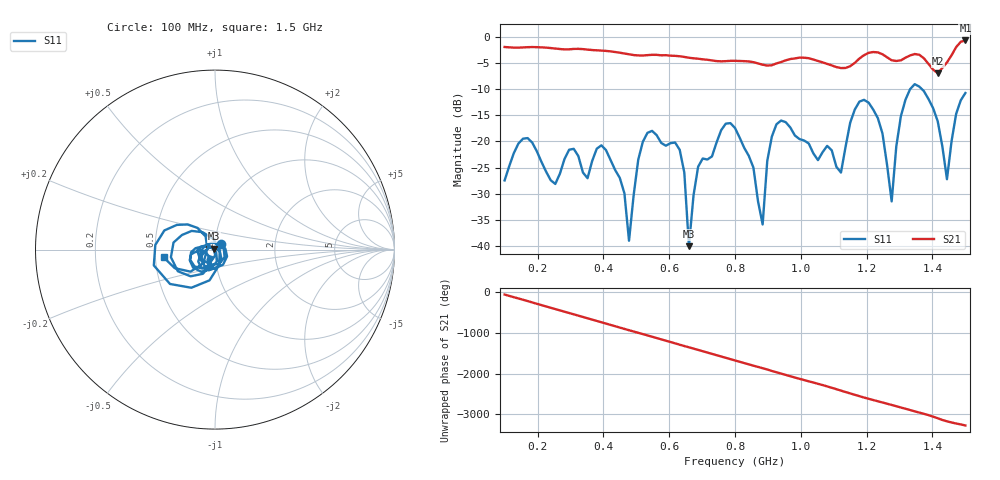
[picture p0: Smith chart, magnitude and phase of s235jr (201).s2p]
! NanoVNA-App
! Date: 2025-09-25 15:05:44
! Start: 100MHz Stop: 1,5GHz Points: 101
! S-Parameter data: F S11 S21 S12 S22
# Hz S RI R 50
!  Frequency  S11_Real  S11_Imag  S21_Real  S21_Imag  S12_Real  S12_Imag  S22_Real  S22_Imag
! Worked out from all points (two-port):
!   101 points, 100 MHz to 1.5 GHz, reference 50 ohm
!   highest |S21| = -0.72 dB at 1.5 GHz (marker M1); lowest = -7.0 dB at 1.416 GHz (marker M2)
!   |S21| within 3 dB of the highest: start of sweep to 628 MHz; 1.188 GHz to 1.257 GHz (68.95 MHz wide, 5.64 % of centre) (the widest 2 of 4)
!   lowest |S11| = -40.0 dB at 660 MHz (marker M3), VSWR 1.02, Z = 49.2 + j0.559 ohm
!   |S11| at or under -10 dB: start of sweep to 1.332 GHz; 1.367 GHz to end of sweep
!   S12 and S22 are empty: the file has one direction only
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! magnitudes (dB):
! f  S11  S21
! 100 MHz  -27.5  -2.0
! 170 MHz  -19.4  -2.0
! 338 MHz  -26.0  -2.4
! 408 MHz  -21.7  -2.7
! 478 MHz  -39.0  -3.4
! 520 MHz  -20.1  -3.6
! 576 MHz  -20.3  -3.6
! 632 MHz  -21.6  -3.7
! 660 MHz  -40.0  -4.0
! 688 MHz  -24.8  -4.2
! 800 MHz  -17.4  -4.6
! 884 MHz  -35.9  -5.4
! 898 MHz  -23.7  -5.5
! 926 MHz  -16.7  -5.1
! 1.038 GHz  -22.3  -4.4
! 1.122 GHz  -26.0  -6.0
! 1.206 GHz  -12.6  -3.1
! 1.276 GHz  -31.5  -4.5
! 1.332 GHz  -10.0  -3.6
! 1.416 GHz  -16.2  -7.0
! 1.444 GHz  -27.2  -4.9
! 1.5 GHz  -10.8  -0.7
